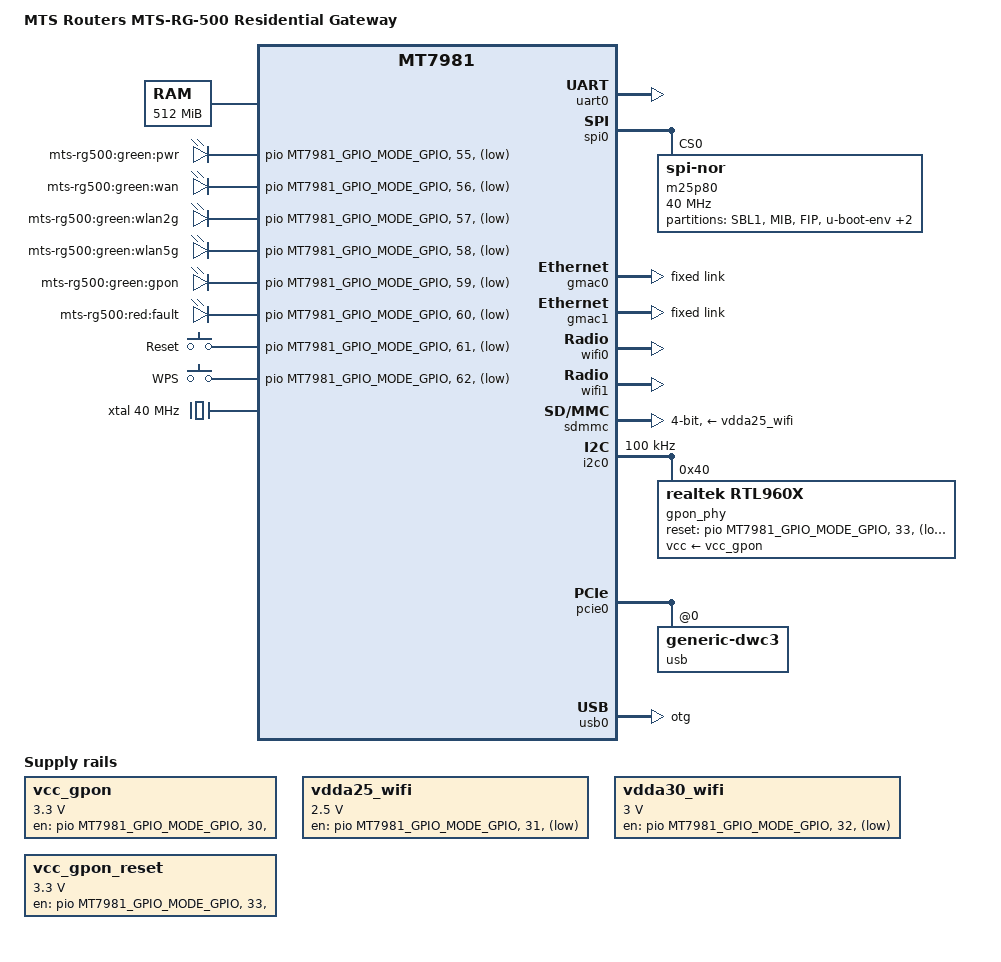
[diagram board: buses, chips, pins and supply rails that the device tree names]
/*
 * device-tree.dts — Device Tree for MTS-RG-500 Residential Gateway
 *
 * SoC: MediaTek MT7981 (Helio X30)
 * Features:
 *   - Dual-core ARM Cortex-A53 @ 2.0GHz
 *   - WiFi 6 (MT76) dual-band 2.4GHz + 5GHz
 *   - 4x Gigabit Ethernet ports
 *   - GPON PHY (RTL960x)
 *   - USB 2.0/3.0
 *   - PCIe
 *   - SDMMC
 *   - ADC, GPIO, UART, I2C, SPI
 */

/dts-v1/;
#include <dt-bindings/gpio/gpio.h>
#include <dt-bindings/interrupt-controller/irq.h>
#include <dt-bindings/pinctrl/mtk,mt6577-pinfunc.h>
#include <dt-bindings/clock/mt7981-clk.h>

/ {
    model = "MTS Routers MTS-RG-500 Residential Gateway";
    compatible = "mts,mts-rg500", "mediatek,mt7981";

    aliases {
        serial0 = &uart0;
        ethernet0 = &gmac0;
        ethernet1 = &gmac1;
        wifi0 = &wifi0;
        wifi1 = &wifi1;
        sdcard0 = &sdmmc;
    };

    chosen {
        stdout-path = "serial0:115200n8";
        bootargs = "console=ttyS0,115200n8 earlycon=uart8250,mmio32,0x11002000 root=/dev/mtdblock3 rootfstype=squashfs,fuse ext4 rw rootwait";
    };

    memory {
        device_type = "memory";
        reg = <0x40000000 0x20000000>; /* 512MB DDR */
    };

    reserved-memory {
        #address-cells = <2>;
        #size-cells = <2>;
        ranges;

        /* TEE OS reserved memory */
        tee_mem: tee@4a000000 {
            reg = <0x0 0x4a000000 0x0 0x01000000>; /* 16MB */
            no-map;
        };

        /* FWK memory */
        fwk_mem: fwk@4b000000 {
            reg = <0x0 0x4b000000 0x0 0x00100000>; /* 1MB */
            no-map;
        };

        /* DMA coherent memory */
        dma_mem: dma@4b100000 {
            reg = <0x0 0x4b100000 0x0 0x00F00000>; /* 15MB */
            no-map;
        };
    };

    /* GPIO LEDs */
    leds {
        compatible = "gpio-leds";
        pwr_led: led-0 {
            label = "mts-rg500:green:pwr";
            gpios = <&pio MT7981_GPIO_MODE_GPIO, 55, GPIO_ACTIVE_LOW>;
            default-state = "on";
        };
        wan_led: led-1 {
            label = "mts-rg500:green:wan";
            gpios = <&pio MT7981_GPIO_MODE_GPIO, 56, GPIO_ACTIVE_LOW>;
        };
        wlan2g_led: led-2 {
            label = "mts-rg500:green:wlan2g";
            gpios = <&pio MT7981_GPIO_MODE_GPIO, 57, GPIO_ACTIVE_LOW>;
        };
        wlan5g_led: led-3 {
            label = "mts-rg500:green:wlan5g";
            gpios = <&pio MT7981_GPIO_MODE_GPIO, 58, GPIO_ACTIVE_LOW>;
        };
        gpon_led: led-4 {
            label = "mts-rg500:green:gpon";
            gpios = <&pio MT7981_GPIO_MODE_GPIO, 59, GPIO_ACTIVE_LOW>;
        };
        fault_led: led-5 {
            label = "mts-rg500:red:fault";
            gpios = <&pio MT7981_GPIO_MODE_GPIO, 60, GPIO_ACTIVE_LOW>;
        };
    };

    /* GPIO Buttons */
    buttons {
        compatible = "gpio-keys";
        reset_btn: button-0 {
            label = "Reset";
            gpios = <&pio MT7981_GPIO_MODE_GPIO, 61, GPIO_ACTIVE_LOW>;
            interrupt-parent = <&pio>;
            interrupts = <61 IRQ_TYPE_EDGE_FALLING>;
            debounce-interval = <60>;
            wakeup-source;
        };
        wps_btn: button-1 {
            label = "WPS";
            gpios = <&pio MT7981_GPIO_MODE_GPIO, 62, GPIO_ACTIVE_LOW>;
            interrupt-parent = <&pio>;
            interrupts = <62 IRQ_TYPE_EDGE_FALLING>;
            debounce-interval = <60>;
            wakeup-source;
        };
    };

    /* Power regulator for GPON PHY */
    vcc_gpon: regulator-0 {
        compatible = "regulator-fixed";
        regulator-name = "VCC_GPON";
        regulator-min-microvolt = <3300000>;
        regulator-max-microvolt = <3300000>;
        gpio = <&pio MT7981_GPIO_MODE_GPIO, 30, GPIO_ACTIVE_HIGH>;
        enable-active-high;
        regulator-boot-on;
        regulator-always-on;
    };

    /* WiFi RF front-end regulators */
    vdda25_wifi: regulator-wifi-25 {
        compatible = "regulator-fixed";
        regulator-name = "VDDA25_WIFI";
        regulator-min-microvolt = <2500000>;
        regulator-max-microvolt = <2500000>;
        gpio = <&pio MT7981_GPIO_MODE_GPIO, 31, GPIO_ACTIVE_HIGH>;
        regulator-boot-on;
        regulator-always-on;
    };

    vdda30_wifi: regulator-wifi-30 {
        compatible = "regulator-fixed";
        regulator-name = "VDDA30_WIFI";
        regulator-min-microvolt = <3000000>;
        regulator-max-microvolt = <3000000>;
        gpio = <&pio MT7981_GPIO_MODE_GPIO, 32, GPIO_ACTIVE_HIGH>;
        regulator-boot-on;
        regulator-always-on;
    };

    /* GPON reset regulator */
    vcc_gpon_reset: regulator-gpon-reset {
        compatible = "regulator-fixed";
        regulator-name = "VCC_GPON_RESET";
        regulator-min-microvolt = <3300000>;
        regulator-max-microvolt = <3300000>;
        gpio = <&pio MT7981_GPIO_MODE_GPIO, 33, GPIO_ACTIVE_HIGH>;
        enable-active-high;
    };

    /* UART0 console */
    uart0: serial@11002000 {
        compatible = "mediatek,mt7981-uart", "mediatek,mt6577-uart";
        reg = <0x11002000 0x1000>;
        interrupts = <GIC_SPI 37 IRQ_TYPE_LEVEL_LOW>;
        status = "okay";
    };

    /* Watchdog */
    watchdog: watchdog@1100f000 {
        compatible = "mediatek,mt7981-wdt", "mediatek,mt6577-wdt";
        reg = <0x1100f000 0x1000>;
        interrupts = <GIC_SPI 168 IRQ_TYPE_LEVEL_LOW>;
    };

    /* Clocks */
    clocks {
        xtal: xtal {
            compatible = "fixed-clock";
            #clock-cells = <0>;
            clock-frequency = <40000000>;
            clock-output-names = "xtal";
        };
    };

    /* APSoC clocks */
    apmixedsys: apmixedsys@10000000 {
        compatible = "mediatek,mt7981-apmixedsys";
        reg = <0x10000000 0x1000>;
        #clock-cells = <1>;
        clock-names = "xtal";
        clocks = <&xtal>;
        clock-output-names = "clk26m", "main", "img", "ipc_bus",
                             "ipc_bus2", "mm", "unk1", "peri",
                             "dmach", "unk2", "dmactrl",
                             "unk3", "unk4", "unk5", "unk6",
                             "unk7", "unk8", "unk9", "unk10",
                             "unk11", "unk12", "unk13", "unk14",
                             "unk15", "unk16", "unk17", "unk18",
                             "unk19", "unk20", "unk21", "unk22",
                             "unk23", "unk24", "unk25", "unk26",
                             "unk27", "unk28", "unk29", "unk30",
                             "unk31", "unk32", "unk33", "unk34",
                             "unk35", "unk36", "unk37", "unk38",
                             "unk39", "unk40", "unk41", "unk42",
                             "unk43", "unk44", "unk45", "unk46",
                             "unk47", "unk48", "unk49", "unk50",
                             "unk51", "unk52", "unk53", "unk54",
                             "unk55", "unk56", "unk57", "unk58",
                             "unk59", "unk60", "unk61", "unk62",
                             "unk63", "unk64", "unk65", "unk66",
                             "unk67", "unk68", "unk69", "unk70",
                             "unk71", "unk72", "unk73", "unk74",
                             "unk75", "unk76", "unk77", "unk78",
                             "unk79", "unk80", "unk81", "unk82",
                             "unk83", "unk84", "unk85", "unk86",
                             "unk87", "unk88", "unk89", "unk90",
                             "unk91", "unk92", "unk93", "unk94",
                             "unk95", "unk96", "unk97", "unk98",
                             "unk99", "unk100", "unk101", "unk102",
                             "unk103", "unk104", "unk105", "unk106",
                             "unk107", "unk108", "unk109", "unk110",
                             "unk111", "unk112", "unk113", "unk114",
                             "unk115", "unk116", "unk117", "unk118",
                             "unk119", "unk120", "unk121", "unk122",
                             "unk123", "unk124", "unk125", "unk126",
                             "unk127", "unk128";
    };
};

/* ==================== GPIO Controller ==================== */

&pio {
    status = "okay";
};

/* ==================== UART ==================== */

&uart0 {
    status = "okay";
};

/* ==================== SPI Flash ==================== */

&spi0 {
    status = "okay";
    m25p80@0 {
        compatible = "jedec,spi-nor";
        reg = <0>;
        spi-max-frequency = <40000000>;
        spi-tx-buswidth = <1>;
        spi-rx-buswidth = <4>;

        partitions {
            compatible = "fixed-partitions";
            #address-cells = <1>;
            #size-cells = <1>;

            partition@0 {
                label = "SBL1";
                reg = <0x0 0x40000>;
                read-only;
            };
            partition@40000 {
                label = "MIB";
                reg = <0x40000 0x40000>;
                read-only;
            };
            partition@80000 {
                label = "FIP";
                reg = <0x80000 0x200000>;
                read-only;
            };
            partition@280000 {
                label = "u-boot-env";
                reg = <0x280000 0x80000>;
                read-only;
            };
            factory@300000 {
                label = "factory";
                reg = <0x300000 0x80000>;
                read-only;
            };
            firmware: partition@380000 {
                label = "firmware";
                reg = <0x380000 0x7C80000>;
            };
        };
    };
};

/* ==================== GMAC (Ethernet) ==================== */

&gmac0 {
    device_type = "network";
    status = "okay";
    mtd-mac-address = <&factory 0x0>;
    nvmem-cells = <&macaddr_gmac0>;
    nvmem-cell-names = "mac-address";

    fixed-link {
        speed = <1000>;
        full-duplex;
        pause;
    };
};

&gmac1 {
    device_type = "network";
    status = "okay";
    mtd-mac-address = <&factory 0x6>;
    nvmem-cells = <&macaddr_gmac1>;
    nvmem-cell-names = "mac-address";

    fixed-link {
        speed = <1000>;
        full-duplex;
        pause;
    };
};

/* ==================== WiFi ==================== */

&wifi0 {
    status = "okay";
    mediatek {
        mcm-status = <1>;
        ip = <0x40060000 0x10000000>;
        ip_eu = <0x40060000 0x10000000>;
        eeprom = <0>;
        rf = "rf0";
        rf_reg1 = <5>;
        ant_sel_fem = <0>;
        ant_sel_pwr = <1>;
        lna_gain_2g = <0>;
        lna_gain_5g = <0>;
        tx_bb_pw_2g = <3>;
        tx_bb_pw_5g = <3>;
        tx_ic_2g = <15>;
        tx_ic_5g = <15>;
        tx_i2c_offset = <0>;
        tx_i2c_bw = <0>;
        tx_power_2g_0 = <0>;
        tx_power_2g_1 = <0>;
        tx_power_2g_2 = <0>;
        tx_power_2g_3 = <0>;
        tx_power_2g_4 = <0>;
        tx_power_2g_5 = <0>;
        tx_power_2g_6 = <0>;
        tx_power_2g_7 = <0>;
        tx_power_5g_0 = <0>;
        tx_power_5g_1 = <0>;
        tx_power_5g_2 = <0>;
        tx_power_5g_3 = <0>;
        tx_power_5g_4 = <0>;
        tx_power_5g_5 = <0>;
        tx_power_5g_6 = <0>;
        tx_power_5g_7 = <0>;
        ddr_con_sim = <0>;
        freq = <5>;
        agc_rfe_mode = <0>;
        txagc_2g = <7>;
        txagc_5gl = <11>;
        txagc_5gm = <11>;
        txagc_5gh = <11>;
        bw = <0>;
        dot11rac = <0>;
        dot11h = <0>;
        dfs = <0>;
        amsdu = <1>;
        vht_ra_txbf = <1>;
        wmm = <1>;
        ack_cntr = <0>;
        frag_thresh = <0>;
        rts_thresh = <0>;
        dot1d = <0>;
        apsd = <0>;
        dot11s = <0>;
        wds = <0>;
        sgi = <1>;
        chsw_min = <0>;
        chsw_max = <10>;
        ch_monitor = <0>;
        bt = <0>;
        bt_ch_offset = <0>;
        bt_wl_ch_diff = <0>;
        bt_wl_max_interf = <0>;
        bt_bt_max_interf = <0>;
        wpa2pkc = <0>;
        wl2sta = <0>;
        ipq = <0>;
        dot11h_dfs_pri = <0>;
        fast_chip = <1>;
        fast_crypto = <1>;
        kspace = <1024>;
        uapsd = <0>;
        ven_tlv_sw = <0>;
        force_ht_sc = <0>;
        tpc = <0>;
        tpc_rpt_egid = <0>;
        tpc_max_pwr = <0>;
        tpc_min_pwr = <0>;
        tpc_th = <0>;
        tpc_th2 = <0>;
        tpc_aat = <0>;
        rf_ant_sel = <0>;
        rf_temp = <0>;
        rf_th = <0>;
        rf_min_pwr = <0>;
        rf_vga_up = <0>;
        rf_vga_down = <0>;
        rf_agc_rfe = <0>;
        rf_bw = <0>;
        rf_agc_band = <0>;
        rf_agc_mode = <0>;
        rf_tx_bb_pw = <0>;
        rf_tx_ic = <0>;
        rf_tx_i_offset = <0>;
        rf_tx_i_bw = <0>;
        rf_tx_agc_2g = <0>;
        rf_tx_agc_5g_l = <0>;
        rf_tx_agc_5g_m = <0>;
        rf_tx_agc_5g_h = <0>;
        rf_tx_power_2g_0 = <0>;
        rf_tx_power_2g_1 = <0>;
        rf_tx_power_2g_2 = <0>;
        rf_tx_power_2g_3 = <0>;
        rf_tx_power_2g_4 = <0>;
        rf_tx_power_2g_5 = <0>;
        rf_tx_power_2g_6 = <0>;
        rf_tx_power_2g_7 = <0>;
        rf_tx_power_5g_l_0 = <0>;
        rf_tx_power_5g_l_1 = <0>;
        rf_tx_power_5g_l_2 = <0>;
        rf_tx_power_5g_l_3 = <0>;
        rf_tx_power_5g_l_4 = <0>;
        rf_tx_power_5g_l_5 = <0>;
        rf_tx_power_5g_l_6 = <0>;
        rf_tx_power_5g_l_7 = <0>;
        rf_tx_power_5g_m_0 = <0>;
        rf_tx_power_5g_m_1 = <0>;
        rf_tx_power_5g_m_2 = <0>;
        rf_tx_power_5g_m_3 = <0>;
        rf_tx_power_5g_m_4 = <0>;
        rf_tx_power_5g_m_5 = <0>;
        rf_tx_power_5g_m_6 = <0>;
        rf_tx_power_5g_m_7 = <0>;
        rf_tx_power_5g_h_0 = <0>;
        rf_tx_power_5g_h_1 = <0>;
        rf_tx_power_5g_h_2 = <0>;
        rf_tx_power_5g_h_3 = <0>;
        rf_tx_power_5g_h_4 = <0>;
        rf_tx_power_5g_h_5 = <0>;
        rf_tx_power_5g_h_6 = <0>;
        rf_tx_power_5g_h_7 = <0>;
        rf_dd_resist = <0>;
        rf_dd_pwr = <0>;
        rf_dd_i = <0>;
        rf_dd_q = <0>;
        rf_dd_iqdiff = <0>;
        rf_dd_iqdiff_pwr = <0>;
        rf_dd_offset = <0>;
        rf_dd_offset_pwr = <0>;
        rf_dd_offset_i = <0>;
        rf_dd_offset_q = <0>;
        rf_dd_offset_iqdiff = <0>;
        rf_dd_offset_iqdiff_pwr = <0>;
    };
};

&wifi1 {
    status = "okay";
    mediatek {
        mcm-status = <1>;
        ip = <0x40060000 0x10000000>;
        ip_eu = <0x40060000 0x10000000>;
        eeprom = <0>;
        rf = "rf0";
        ant_sel_fem = <0>;
        ant_sel_pwr = <1>;
        lna_gain_2g = <0>;
        lna_gain_5g = <0>;
        tx_bb_pw_2g = <3>;
        tx_bb_pw_5g = <3>;
        tx_ic_2g = <15>;
        tx_ic_5g = <15>;
        tx_i2c_offset = <0>;
        tx_i2c_bw = <0>;
        tx_power_2g_0 = <0>;
        tx_power_5g_0 = <0>;
        ddr_con_sim = <0>;
        fast_chip = <1>;
        fast_crypto = <1>;
        kspace = <1024>;
    };
};

/* ==================== SDMMC (microSD) ==================== */

&sdmmc {
    status = "okay";
    max-frequency = <50000000>;
    bus-width = <4>;
    cap-sd-highspeed;
    disable-wp;
    vmmc-supply = <&vdda25_wifi>;
    vqmmc-supply = <&vdda30_wifi>;
    mtkuw-sd = <0>;
    partitions {
        compatible = "fixed-partitions";
        #address-cells = <1>;
        #size-cells = <1>;
    };
};

/* ==================== I2C ==================== */

&i2c0 {
    status = "okay";
    clock-frequency = <100000>;
    pinctrl-names = "default";
    pinctrl-0 = <&i2c0_pins>;

    /* GPON PHY (RTL960x) on I2C bus */
    gpon_phy: rtl960x@40 {
        compatible = "realtek,rtl960x";
        reg = <0x40>;
        vcc-supply = <&vcc_gpon>;
        reset-gpios = <&pio MT7981_GPIO_MODE_GPIO, 33, GPIO_ACTIVE_LOW>;
        status = "okay";
    };
};

&i2c1 {
    status = "disabled";
};

/* ==================== PCIe ==================== */

&pcie0 {
    status = "okay";
    mediatek,pci;

    pcie@0,0 {
        reg = <0x00000000 0 0 0 0>;
        #address-cells = <3>;
        #size-cells = <2>;
        ranges;

        /* USB3.0 device */
        usb@0,0 {
            compatible = "generic-dwc3";
            reg = <0x00000000 0 0 0 0>;
        };
    };
};

&pcie1 {
    status = "disabled";
};

/* ==================== USB ==================== */

&usb0 {
    status = "okay";
    dr_mode = "otg";
    usb-role-switch;
};

/* ==================== NVMEM (MAC addresses) ==================== */

&factory {
    compatible = "nvmem-cell-utils";
    #address-cells = <1>;
    #size-cells = <1>;

    macaddr_gmac0: macaddr@0 {
        reg = <0x0 0x6>;
    };
    macaddr_gmac1: macaddr@6 {
        reg = <0x6 0x6>;
    };
};

/* ==================== Pinctrl ==================== */

&i2c0_pins {
    function = "i2c";
    group = "i2c0_0";
};
